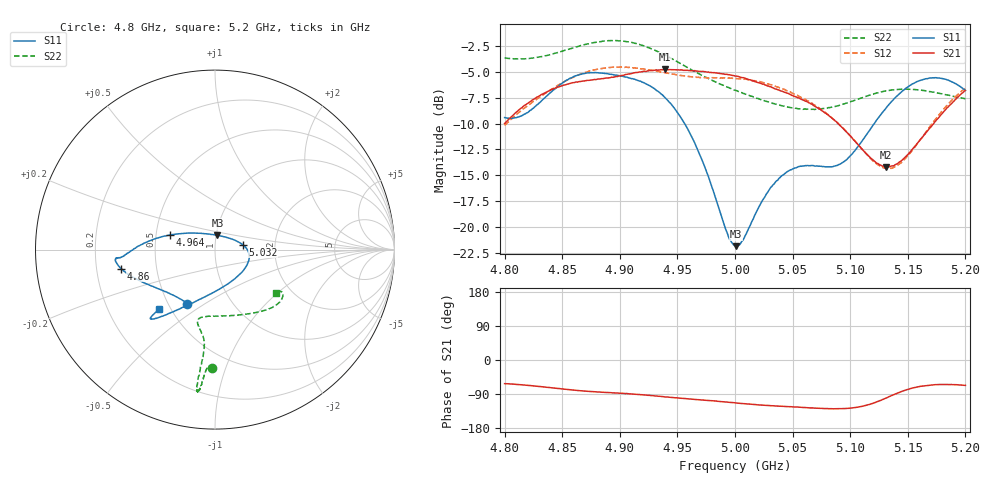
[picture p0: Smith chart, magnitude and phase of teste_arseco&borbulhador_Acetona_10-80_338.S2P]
! Network Analyzer HP8722D
! Hewlett-Packard
! Data name: Linha & Wilkinson
! Saver's name: Rodrigo Anjos
! Comments: Teste da utilização de aquisição
! continua pelo VNA HP8722D
! Time and date: 17/4/2025 17:10
!  Frequency  S11  S21  S12  S22
# HZ  S  MA R 50
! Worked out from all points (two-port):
!   401 points, 4.8 GHz to 5.2 GHz, reference 50 ohm
!   highest |S21| = -4.75 dB at 4.939 GHz (marker M1); lowest = -14.2 dB at 5.131 GHz (marker M2)
!   |S21| within 3 dB of the highest: 4.824 GHz to 5.06 GHz (236.2 MHz wide, 4.78 % of centre); 5.190633 GHz to end of sweep
!   lowest |S11| = -21.9 dB at 5.001 GHz (marker M3), VSWR 1.18, Z = 50.7 + j8.1 ohm
!   |S11| at or under -10 dB: 4.956 GHz to 5.121 GHz (164.8 MHz wide, 3.27 % of centre)
!   |S22| runs from -8.6 to -1.9 dB; largest |S21 - S12| = 0.87
!   S11 on the Smith chart (normalised r, x): 4.8 GHz: 0.62, -0.42; 4.86 GHz: 0.31, -0.09; 4.964 GHz: 0.59, +0.10; 5.032 GHz: 1.36, +0.08; 5.2 GHz: 0.43, -0.36
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4.8e9  0.338 -117.2  0.3164 -62.4  0.3099 -176.6  0.6582 -91.4
4.819e9  0.3556 -137.4  0.3925 -66.5  0.3819 -176.2  0.6523 -93.2
4.86e9  0.5346 -168.6  0.4989 -79.4  0.5309 -179.6  0.7369 -95.6
4.867e9  0.5492 -171.3  0.5071 -81.3  0.5512 179.0  0.7567 -95.7
4.902e9  0.5358 -175.2  0.5409 -87.9  0.5948 172.5  0.7943 -97.3
4.934e9  0.4493 179.2  0.5748 -95.8  0.5646 169.8  0.7009 -97.3
4.939e9  0.424 177.2  0.5785 -97.3  0.5582 169.8  0.6796 -97.0
4.964e9  0.2618 161.9  0.5691 -103.8  0.5317 171.8  0.5685 -96.3
4.993e9  0.09412 112.2  0.5477 -111.2  0.5255 174.1  0.4754 -98.7
5e9  0.08124 84.3  0.5374 -113.2  0.5236 174.1  0.4584 -100.1
5.001e9  0.08053 80.2  0.5364 -113.2  0.5227 174.1  0.4568 -100.2
5.007e9  0.08627 56.5  0.5276 -115.0  0.5183 174.1  0.4426 -101.5
5.032e9  0.1568 10.2  0.4732 -120.6  0.4866 173.0  0.3974 -103.3
5.048e9  0.1886 -5.0  0.4372 -123.2  0.4501 172.3  0.3781 -99.0
5.067e9  0.198 -25.3  0.3927 -126.3  0.3964 172.0  0.3707 -88.2
5.096e9  0.2097 -75.6  0.2908 -127.9  0.2919 174.8  0.3961 -65.8
5.119e9  0.3056 -110.1  0.2127 -115.0  0.2104 -170.2  0.4376 -50.6
5.131e9  0.3752 -119.9  0.195 -100.7  0.1922 -154.2  0.4551 -44.7
5.134e9  0.3929 -121.8  0.1951 -96.4  0.1913 -149.6  0.4576 -43.3
5.146e9  0.4579 -127.2  0.2129 -81.6  0.2081 -132.2  0.4644 -38.8
5.168e9  0.5238 -132.3  0.2957 -66.9  0.2995 -113.1  0.452 -33.5
5.2e9  0.4573 -133.3  0.4577 -67.1  0.4701 -109.2  0.4169 -35.0
